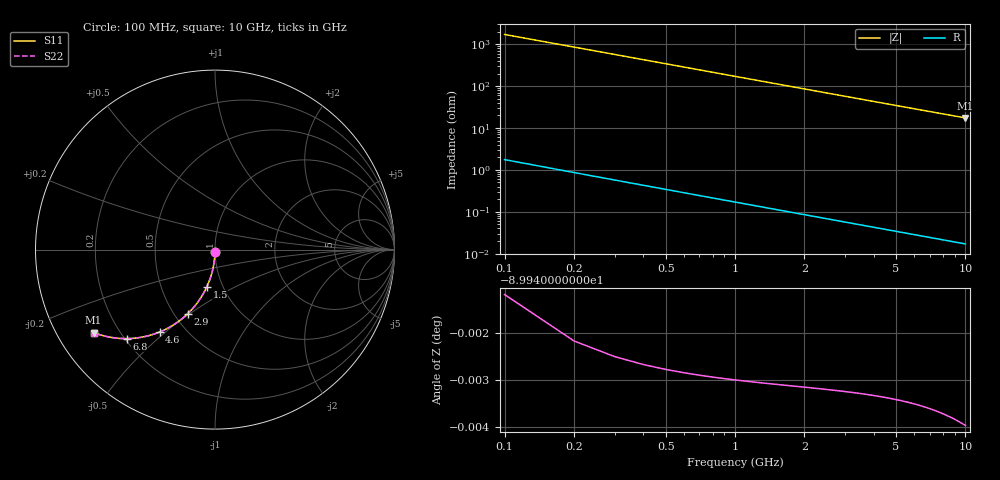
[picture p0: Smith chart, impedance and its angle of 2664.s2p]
# Hz S RI R 50.00
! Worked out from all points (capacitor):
!   100 points, 100 MHz to 10 GHz, reference 50 ohm
!   read as one part in shunt: C = 929 fF near 100 MHz
!   lowest |Z| = 17.4 ohm at 10 GHz (marker M1)
!   S11 on the Smith chart (normalised r, x): 100 MHz: 1.00, -0.03; 1.5 GHz: 0.84, -0.37; 2.9 GHz: 0.59, -0.49; 4.6 GHz: 0.36, -0.48; 6.8 GHz: 0.21, -0.40; 10 GHz: 0.11, -0.31
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1e8  -0.000217 -0.0145  0.9998 -0.0146  0.9998 -0.0146  -0.000217 -0.0145
2e8  -0.000869 -0.0291  0.9991 -0.0293  0.9991 -0.0293  -0.000869 -0.0291
3e8  -0.00194 -0.0435  0.998 -0.0438  0.998 -0.0438  -0.00194 -0.0435
4e8  -0.00344 -0.058  0.9965 -0.0584  0.9965 -0.0584  -0.00344 -0.058
5e8  -0.00535 -0.0723  0.9946 -0.0728  0.9946 -0.0728  -0.00535 -0.0723
6e8  -0.00768 -0.0865  0.9923 -0.0872  0.9923 -0.0872  -0.00768 -0.0865
7e8  -0.0104 -0.1007  0.9896 -0.1014  0.9896 -0.1014  -0.0104 -0.1007
9e8  -0.0171 -0.1285  0.9829 -0.1295  0.9829 -0.1295  -0.0171 -0.1285
1.2e9  -0.0299 -0.1691  0.9701 -0.1703  0.9701 -0.1703  -0.0299 -0.1691
1.5e9  -0.0458 -0.2078  0.9542 -0.2094  0.9542 -0.2094  -0.0458 -0.2078
1.8e9  -0.0646 -0.2443  0.9354 -0.2462  0.9354 -0.2462  -0.0646 -0.2443
2.3e9  -0.1011 -0.2998  0.8989 -0.3022  0.8989 -0.3022  -0.1011 -0.2998
2.9e9  -0.1514 -0.3564  0.8486 -0.3595  0.8486 -0.3595  -0.1514 -0.3564
3.4e9  -0.1967 -0.3952  0.8033 -0.3988  0.8033 -0.3988  -0.1967 -0.3952
4e9  -0.2527 -0.432  0.7472 -0.4362  0.7472 -0.4362  -0.2527 -0.432
4.6e9  -0.3087 -0.4591  0.6913 -0.4639  0.6913 -0.4639  -0.3087 -0.4591
5.1e9  -0.3541 -0.4751  0.6459 -0.4804  0.6459 -0.4804  -0.3541 -0.4751
5.9e9  -0.4227 -0.4904  0.5773 -0.4966  0.5773 -0.4966  -0.4227 -0.4904
6.7e9  -0.4852 -0.4957  0.5148 -0.5028  0.5148 -0.5028  -0.4852 -0.4957
6.8e9  -0.4925 -0.4958  0.5074 -0.503  0.5074 -0.503  -0.4925 -0.4958
8.4e9  -0.5962 -0.4857  0.4037 -0.4946  0.4037 -0.4946  -0.5962 -0.4857
1e10  -0.6762 -0.4621  0.3237 -0.4728  0.3237 -0.4728  -0.6762 -0.4621
